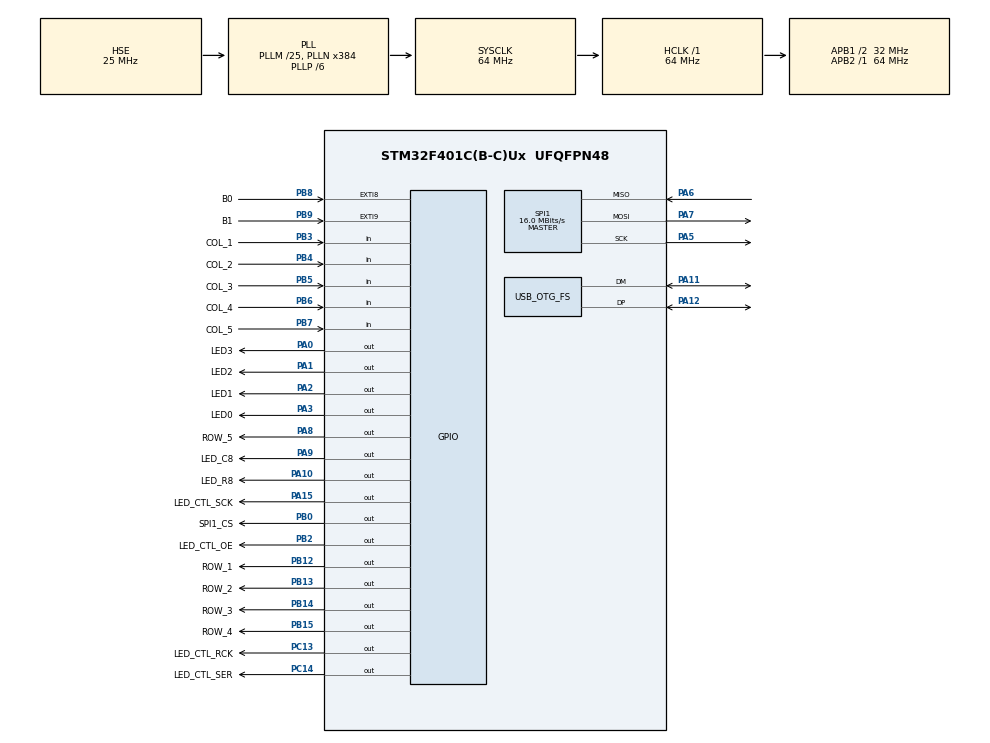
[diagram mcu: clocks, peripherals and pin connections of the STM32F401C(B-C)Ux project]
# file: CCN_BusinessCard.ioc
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Mcu.Family=STM32F4
Mcu.Name=STM32F401C(B-C)Ux
Mcu.Package=UFQFPN48
NVIC.OTG_FS_IRQn=true\:6\:0\:true\:false\:true\:false\:true\:true
NVIC.PriorityGroup=NVIC_PRIORITYGROUP_4
NVIC.TIM1_TRG_COM_TIM11_IRQn=true\:5\:0\:true\:false\:true\:false\:true\:true
NVIC.TimeBase=TIM1_TRG_COM_TIM11_IRQn
NVIC.TimeBaseIP=TIM11
PA0-WKUP.GPIO_Label=LED3
PA0-WKUP.GPIO_PuPd=GPIO_PULLUP
PA0-WKUP.PinState=GPIO_PIN_SET
PA0-WKUP.Signal=GPIO_Output
PA1.GPIO_Label=LED2
PA1.GPIO_PuPd=GPIO_PULLUP
PA1.PinState=GPIO_PIN_SET
PA1.Signal=GPIO_Output
PA10.GPIO_Label=LED_R8
PA10.GPIO_PuPd=GPIO_PULLDOWN
PA10.Signal=GPIO_Output
PA11.Mode=Device_Only
PA11.Signal=USB_OTG_FS_DM
PA12.Mode=Device_Only
PA12.Signal=USB_OTG_FS_DP
PA13.Mode=Serial_Wire
PA13.Signal=SYS_JTMS-SWDIO
PA14.Mode=Serial_Wire
PA14.Signal=SYS_JTCK-SWCLK
PA15.GPIO_Label=LED_CTL_SCK
PA15.Signal=GPIO_Output
PA2.GPIO_Label=LED1
PA2.GPIO_PuPd=GPIO_PULLUP
PA2.PinState=GPIO_PIN_SET
PA2.Signal=GPIO_Output
PA3.GPIO_Label=LED0
PA3.GPIO_PuPd=GPIO_PULLUP
PA3.PinState=GPIO_PIN_SET
PA3.Signal=GPIO_Output
PA5.Mode=Full_Duplex_Master
PA5.Signal=SPI1_SCK
PA6.Mode=Full_Duplex_Master
PA6.Signal=SPI1_MISO
PA7.Mode=Full_Duplex_Master
PA7.Signal=SPI1_MOSI
PA8.GPIO_Label=ROW_5
PA8.GPIO_PuPd=GPIO_PULLDOWN
PA8.Signal=GPIO_Output
PA9.GPIO_Label=LED_C8
PA9.GPIO_PuPd=GPIO_PULLDOWN
PA9.Signal=GPIO_Output
PB0.GPIO_Label=SPI1_CS
PB0.Signal=GPIO_Output
PB12.GPIO_Label=ROW_1
PB12.GPIO_PuPd=GPIO_PULLDOWN
PB12.Signal=GPIO_Output
PB13.GPIO_Label=ROW_2
PB13.GPIO_PuPd=GPIO_PULLDOWN
PB13.Signal=GPIO_Output
PB14.GPIO_Label=ROW_3
PB14.GPIO_PuPd=GPIO_PULLDOWN
PB14.Signal=GPIO_Output
PB15.GPIO_Label=ROW_4
PB15.GPIO_PuPd=GPIO_PULLDOWN
PB15.Signal=GPIO_Output
PB2.GPIO_Label=LED_CTL_OE
PB2.GPIO_PuPd=GPIO_PULLDOWN
PB2.Signal=GPIO_Output
PB3.GPIO_Label=COL_1
PB3.GPIO_PuPd=GPIO_PULLDOWN
PB3.Signal=GPIO_Input
PB4.GPIO_Label=COL_2
PB4.GPIO_PuPd=GPIO_PULLDOWN
PB4.Signal=GPIO_Input
PB5.GPIO_Label=COL_3
PB5.GPIO_PuPd=GPIO_PULLDOWN
PB5.Signal=GPIO_Input
PB6.GPIO_Label=COL_4
PB6.GPIO_PuPd=GPIO_PULLDOWN
PB6.Signal=GPIO_Input
PB7.GPIO_Label=COL_5
PB7.GPIO_PuPd=GPIO_PULLDOWN
PB7.Signal=GPIO_Input
PB8.GPIO_Label=B0
PB8.GPIO_PuPd=GPIO_PULLDOWN
PB8.Signal=GPXTI8
PB9.GPIO_Label=B1
PB9.GPIO_PuPd=GPIO_PULLDOWN
PB9.Signal=GPXTI9
PC13-ANTI_TAMP.GPIO_Label=LED_CTL_RCK
PC13-ANTI_TAMP.Signal=GPIO_Output
PC14-OSC32_IN.GPIO_Label=LED_CTL_SER
PC14-OSC32_IN.Signal=GPIO_Output
PH0\ -\ OSC_IN.Mode=HSE-External-Oscillator
PH0\ -\ OSC_IN.Signal=RCC_OSC_IN
PH1\ -\ OSC_OUT.Mode=HSE-External-Oscillator
PH1\ -\ OSC_OUT.Signal=RCC_OSC_OUT
ProjectManager.HeapSize=0x200
ProjectManager.StackSize=0x400
ProjectManager.TargetToolchain=STM32CubeIDE
RCC.48MHZClocksFreq_Value=48000000
RCC.AHBFreq_Value=64000000
RCC.APB1CLKDivider=RCC_HCLK_DIV2
RCC.APB1Freq_Value=32000000
RCC.APB1TimFreq_Value=64000000
RCC.APB2Freq_Value=64000000
RCC.APB2TimFreq_Value=64000000
RCC.CortexFreq_Value=64000000
RCC.HCLKFreq_Value=64000000
RCC.HSE_VALUE=25000000
RCC.HSI_VALUE=16000000
RCC.LSE_VALUE=32768
RCC.PLLM=25
RCC.PLLN=384
RCC.PLLP=RCC_PLLP_DIV6
RCC.PLLQ=8
RCC.SYSCLKFreq_VALUE=64000000
RCC.SYSCLKSource=RCC_SYSCLKSOURCE_PLLCLK
RCC.VCOOutputFreq_Value=384000000
SPI1.BaudRatePrescaler=SPI_BAUDRATEPRESCALER_4
SPI1.CalculateBaudRate=16.0 MBits/s
SPI1.Direction=SPI_DIRECTION_2LINES
SPI1.Mode=SPI_MODE_MASTER
SPI1.VirtualType=VM_MASTER
TIM10.Channel=TIM_CHANNEL_1
TIM10.Period=0xFFFF
TIM5.Period=0xFFFFFF
USB_DEVICE.CLASS_NAME_FS=MSC
USB_DEVICE.MSC_MEDIA_PACKET=8192
USB_DEVICE.USBD_MAX_STR_DESC_SIZ=512
USB_DEVICE.USBD_SELF_POWERED=0
USB_DEVICE.VirtualMode=Msc
USB_DEVICE.VirtualModeFS=Msc_FS
USB_OTG_FS.VirtualMode=Device_Only
VP_SYS_VS_tim11.Mode=TIM11
VP_TIM10_VS_ClockSourceINT.Mode=Enable_Timer
VP_TIM10_VS_OPM.Mode=OPM_bit
VP_TIM10_VS_no_output1.Mode=PWM Generation1 No Output
VP_TIM1_VS_ClockSourceINT.Mode=Internal
VP_TIM5_VS_ClockSourceINT.Mode=Internal
VP_USB_DEVICE_VS_USB_DEVICE_MSC_FS.Mode=MSC_FS
board=custom

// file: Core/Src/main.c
/* USER CODE BEGIN Header */
/**
 ******************************************************************************
 * @file           : main.c
 * @brief          : Main program body
 ******************************************************************************
 * @attention
 *
 * Copyright (c) 2023 STMicroelectronics.
 * All rights reserved.
 *
 * This software is licensed under terms that can be found in the LICENSE file
 * in the root directory of this software component.
 * If no LICENSE file comes with this software, it is provided AS-IS.
 *
 ******************************************************************************
 */
/* USER CODE END Header */
#include "main.h"
#include "usb_device.h"

/* USER CODE BEGIN Includes */
#include <stdint.h>
#include "led_matrix.h"
#include "w25qxx.h"
/* USER CODE END Includes */

SPI_HandleTypeDef hspi1;

TIM_HandleTypeDef htim1;
TIM_HandleTypeDef htim5;
TIM_HandleTypeDef htim10;

void SystemClock_Config(void);
static void MX_GPIO_Init(void);
static void MX_SPI1_Init(void);
static void MX_TIM1_Init(void);
static void MX_TIM5_Init(void);
static void MX_TIM10_Init(void);

/* USER CODE BEGIN 0 */

int _write(int file, char *ptr, int len)
{
  //    CDC_Transmit_FS((uint8_t *)ptr, len);
  return (len);
}

void display_demo()
{
  uint16_t row = 0, col = 0;

  row = 0xFFFF;
  col = 0x0001;
  for (int i = 0; i < 9; i++)
  {
    ledmatrix_input(row, col);
    col <<= 1;
    HAL_Delay(100);
  }
  row = 0x0001;
  col = 0xFFFF;
  for (int i = 0; i < 9; i++)
  {
    ledmatrix_input(row, col);
    row <<= 1;
    HAL_Delay(100);
  }
  ledmatrix_input(0, 0);
}

void display_demo2()
{
  ledmatrix_input((1 << 0), (1 << 0));
  HAL_Delay(10); //  LED_L1_1_1 : LED_MAT_0_0 //LED01
  ledmatrix_input((1 << 0), (1 << 1));
  HAL_Delay(10); //  LED_L1_1_2 : LED_MAT_0_1 //LED02
  ledmatrix_input((1 << 0), (1 << 2));
  HAL_Delay(10); //  LED_L1_1_3 : LED_MAT_0_2 //LED03
  ledmatrix_input((1 << 0), (1 << 3));
  HAL_Delay(10); //  LED_L1_1_4 : LED_MAT_0_3 //LED04
  ledmatrix_input((1 << 0), (1 << 4));
  HAL_Delay(10); //  LED_L1_1_5 : LED_MAT_0_4 //LED05
  ledmatrix_input((1 << 1), (1 << 0));
  HAL_Delay(10); //  LED_L1_2_1 : LED_MAT_1_0 //LED10
  ledmatrix_input((1 << 1), (1 << 1));
  HAL_Delay(10); //  LED_L1_2_2 : LED_MAT_1_1 //LED11
  ledmatrix_input((1 << 1), (1 << 2));
  HAL_Delay(10); //  LED_L1_2_3 : LED_MAT_1_2 //LED12
  ledmatrix_input((1 << 1), (1 << 3));
  HAL_Delay(10); //  LED_L1_2_4 : LED_MAT_1_3 //LED13
  ledmatrix_input((1 << 1), (1 << 4));
  HAL_Delay(10); //  LED_L1_2_5 : LED_MAT_1_4 //LED14
  ledmatrix_input((1 << 2), (1 << 0));
  HAL_Delay(10); //  LED_L1_3_1 : LED_MAT_2_0 //LED19
  ledmatrix_input((1 << 2), (1 << 1));
  HAL_Delay(10); //  LED_L1_3_2 : LED_MAT_2_1 //LED20
  ledmatrix_input((1 << 2), (1 << 2));
  HAL_Delay(10); //  LED_L1_3_3 : LED_MAT_2_2 //LED21
  ledmatrix_input((1 << 2), (1 << 3));
  HAL_Delay(10); //  LED_L1_3_4 : LED_MAT_2_3 //LED22
  ledmatrix_input((1 << 2), (1 << 4));
  HAL_Delay(10); //  LED_L1_3_5 : LED_MAT_2_4 //LED23
  ledmatrix_input((1 << 3), (1 << 0));
  HAL_Delay(10); //  LED_L1_4_1 : LED_MAT_3_0 //LED28
  ledmatrix_input((1 << 3), (1 << 1));
  HAL_Delay(10); //  LED_L1_4_2 : LED_MAT_3_1 //LED29
  ledmatrix_input((1 << 3), (1 << 2));
  HAL_Delay(10); //  LED_L1_4_3 : LED_MAT_3_2 //LED30
  ledmatrix_input((1 << 3), (1 << 3));
  HAL_Delay(10); //  LED_L1_4_4 : LED_MAT_3_3 //LED31
  ledmatrix_input((1 << 3), (1 << 4));
  HAL_Delay(10); //  LED_L1_4_5 : LED_MAT_3_4 //LED32
  ledmatrix_input((1 << 4), (1 << 0));
  HAL_Delay(10); //  LED_L1_5_1 : LED_MAT_4_0 //LED37
  ledmatrix_input((1 << 4), (1 << 1));
  HAL_Delay(10); //  LED_L1_5_2 : LED_MAT_4_1 //LED38
  ledmatrix_input((1 << 4), (1 << 2));
  HAL_Delay(10); //  LED_L1_5_3 : LED_MAT_4_2 //LED39
  ledmatrix_input((1 << 4), (1 << 3));
  HAL_Delay(10); //  LED_L1_5_4 : LED_MAT_4_3 //LED40
  ledmatrix_input((1 << 4), (1 << 4));
  HAL_Delay(10); //  LED_L1_5_5 : LED_MAT_4_4 //LED41
  ledmatrix_input((1 << 0), (1 << 5));
  HAL_Delay(10); //  LED_L2_1_1 : LED_MAT_0_5 //LED06
  ledmatrix_input((1 << 0), (1 << 6));
  HAL_Delay(10); //  LED_L2_1_2 : LED_MAT_0_6 //LED07
  ledmatrix_input((1 << 0), (1 << 7));
  HAL_Delay(10); //  LED_L2_1_3 : LED_MAT_0_7 //LED08
  ledmatrix_input((1 << 0), (1 << 8));
  HAL_Delay(10); //  LED_L2_1_4 : LED_MAT_0_8 //LED09
  ledmatrix_input((1 << 1), (1 << 5));
  HAL_Delay(10); //  LED_L2_2_1 : LED_MAT_1_5 //LED15
  ledmatrix_input((1 << 1), (1 << 6));
  HAL_Delay(10); //  LED_L2_2_2 : LED_MAT_1_6 //LED16
  ledmatrix_input((1 << 1), (1 << 7));
  HAL_Delay(10); //  LED_L2_2_3 : LED_MAT_1_7 //LED17
  ledmatrix_input((1 << 1), (1 << 8));
  HAL_Delay(10); //  LED_L2_2_4 : LED_MAT_1_8 //LED18
  ledmatrix_input((1 << 2), (1 << 5));
  HAL_Delay(10); //  LED_L2_3_1 : LED_MAT_2_5 //LED24
  ledmatrix_input((1 << 2), (1 << 6));
  HAL_Delay(10); //  LED_L2_3_2 : LED_MAT_2_6 //LED25
  ledmatrix_input((1 << 2), (1 << 7));
  HAL_Delay(10); //  LED_L2_3_3 : LED_MAT_2_7 //LED26
  ledmatrix_input((1 << 2), (1 << 8));
  HAL_Delay(10); //  LED_L2_3_4 : LED_MAT_2_8 //LED27
  ledmatrix_input((1 << 3), (1 << 5));
  HAL_Delay(10); //  LED_L2_4_1 : LED_MAT_3_5 //LED33
  ledmatrix_input((1 << 3), (1 << 6));
  HAL_Delay(10); //  LED_L2_4_2 : LED_MAT_3_6 //LED34
  ledmatrix_input((1 << 3), (1 << 7));
  HAL_Delay(10); //  LED_L2_4_3 : LED_MAT_3_7 //LED35
  ledmatrix_input((1 << 3), (1 << 8));
  HAL_Delay(10); //  LED_L2_4_4 : LED_MAT_3_8 //LED36
  ledmatrix_input((1 << 5), (1 << 0));
  HAL_Delay(10); //  LED_L3_1_1 : LED_MAT_5_0 // LED46
  ledmatrix_input((1 << 5), (1 << 1));
  HAL_Delay(10); //  LED_L3_1_2 : LED_MAT_5_1 // LED47
  ledmatrix_input((1 << 5), (1 << 2));
  HAL_Delay(10); //  LED_L3_1_3 : LED_MAT_5_2 // LED48
  ledmatrix_input((1 << 6), (1 << 0));
  HAL_Delay(10); //  LED_L3_2_1 : LED_MAT_6_0 // LED55
  ledmatrix_input((1 << 6), (1 << 1));
  HAL_Delay(10); //  LED_L3_2_2 : LED_MAT_6_1 // LED56
  ledmatrix_input((1 << 6), (1 << 2));
  HAL_Delay(10); //  LED_L3_2_3 : LED_MAT_6_2 // LED57
  ledmatrix_input((1 << 7), (1 << 0));
  HAL_Delay(10); //  LED_L3_3_1 : LED_MAT_7_0 // LED64
  ledmatrix_input((1 << 7), (1 << 1));
  HAL_Delay(10); //  LED_L3_3_2 : LED_MAT_7_1 // LED65
  ledmatrix_input((1 << 7), (1 << 2));
  HAL_Delay(10); //  LED_L3_3_3 : LED_MAT_7_2 // LED66
  ledmatrix_input((1 << 5), (1 << 3));
  HAL_Delay(10); //  LED_L4_1_1 : LED_MAT_5_3 // LED49
  ledmatrix_input((1 << 5), (1 << 4));
  HAL_Delay(10); //  LED_L4_1_2 : LED_MAT_5_4 // LED50
  ledmatrix_input((1 << 6), (1 << 3));
  HAL_Delay(10); //  LED_L4_2_1 : LED_MAT_6_3 // LED58
  ledmatrix_input((1 << 6), (1 << 4));
  HAL_Delay(10); //  LED_L4_2_2 : LED_MAT_6_4 // LED59
  ledmatrix_input((1 << 4), (1 << 5));
  HAL_Delay(10); //  LED_L5_01 : LED_MAT_4_5 // LED42
  ledmatrix_input((1 << 4), (1 << 6));
  HAL_Delay(10); //  LED_L5_02 : LED_MAT_4_6 // LED43
  ledmatrix_input((1 << 4), (1 << 7));
  HAL_Delay(10); //  LED_L5_03 : LED_MAT_4_7 // LED44
  ledmatrix_input((1 << 4), (1 << 8));
  HAL_Delay(10); //  LED_L5_04 : LED_MAT_4_8 // LED45
  ledmatrix_input((1 << 5), (1 << 5));
  HAL_Delay(10); //  LED_L5_05 : LED_MAT_5_5 // LED51
  ledmatrix_input((1 << 5), (1 << 6));
  HAL_Delay(10); //  LED_L5_06 : LED_MAT_5_6 // LED52
  ledmatrix_input((1 << 5), (1 << 7));
  HAL_Delay(10); //  LED_L5_07 : LED_MAT_5_7 // LED53
  ledmatrix_input((1 << 5), (1 << 8));
  HAL_Delay(10); //  LED_L5_08 : LED_MAT_5_8 // LED54
  ledmatrix_input((1 << 6), (1 << 5));
  HAL_Delay(10); //  LED_L5_09 : LED_MAT_6_5 // LED60
  ledmatrix_input((1 << 6), (1 << 6));
  HAL_Delay(10); //  LED_L5_10 : LED_MAT_6_6 // LED61
  ledmatrix_input((1 << 6), (1 << 7));
  HAL_Delay(10); //  LED_L5_11 : LED_MAT_6_7 // LED62
  ledmatrix_input((1 << 6), (1 << 8));
  HAL_Delay(10); //  LED_L5_12 : LED_MAT_6_8 // LED63
  ledmatrix_input((1 << 7), (1 << 5));
  HAL_Delay(10); //  LED_L5_13 : LED_MAT_7_5 // LED69
  ledmatrix_input((1 << 7), (1 << 6));
  HAL_Delay(10); //  LED_L5_14 : LED_MAT_7_6 // LED70
  ledmatrix_input((1 << 7), (1 << 7));
  HAL_Delay(10); //  LED_L5_15 : LED_MAT_7_7 // LED71
  ledmatrix_input((1 << 7), (1 << 8));
  HAL_Delay(10); //  LED_L5_16 : LED_MAT_7_8 // LED72
  ledmatrix_input((1 << 8), (1 << 8));
  HAL_Delay(10); //  LED_L6_0 : LED_MAT_8_8 // LED81
  ledmatrix_input((1 << 8), (1 << 7));
  HAL_Delay(10); //  LED_L6_1 : LED_MAT_8_7 // LED80
  ledmatrix_input((1 << 8), (1 << 6));
  HAL_Delay(10); //  LED_L6_2 : LED_MAT_8_6 // LED79
  ledmatrix_input((1 << 8), (1 << 5));
  HAL_Delay(10); //  LED_L6_3 : LED_MAT_8_5 // LED78
  ledmatrix_input((1 << 8), (1 << 0));
  HAL_Delay(10); //  LED_L6_4 : LED_MAT_8_0 // LED73
  ledmatrix_input((1 << 8), (1 << 1));
  HAL_Delay(10); //  LED_L6_5 : LED_MAT_8_1 // LED74
  ledmatrix_input((1 << 8), (1 << 2));
  HAL_Delay(10); //  LED_L6_6 : LED_MAT_8_2 // LED75
  ledmatrix_input((1 << 8), (1 << 3));
  HAL_Delay(10); //  LED_L6_7 : LED_MAT_8_3 // LED76
  ledmatrix_input((1 << 8), (1 << 4));
  HAL_Delay(10); //  LED_L6_8 : LED_MAT_8_4 // LED77
  ledmatrix_input((1 << 7), (1 << 4));
  HAL_Delay(10); //  LED_L6_9 : LED_MAT_7_4 // LED68
  ledmatrix_input((1 << 7), (1 << 3));
  HAL_Delay(10); //  LED_L6_X : LED_MAT_7_3 // LED67
  ledmatrix_input(0, 0);
  HAL_Delay(10); //  LED_L6_X : LED_MAT_7_3 // LED67
}

#include "model/model.h"
#include "util/led_control.h"
#include "util/buttons.h"
#include "util/sleep.h"
#include "fun/startup_anim.h"
#include "fun/gol.h"

uint8_t filter_idx = 0;

void run_model_with_pwm()
{
  // enable interrupt pwm during model calculations

  run_model_and_set_led_brightness(filter_idx);

  // disable interrupt pwm again
}

void reset_input_state()
{
  filter_idx = 0;
  clear_led_brightness();
  set_led_brightness(1, 1, MAX_PWM_LEVEL);
  set_led_brightness(1, 2, MAX_PWM_LEVEL);
  set_led_brightness(2, 2, MAX_PWM_LEVEL);
  set_led_brightness(3, 1, MAX_PWM_LEVEL);
  set_led_brightness(3, 2, MAX_PWM_LEVEL);
  set_led_brightness(3, 3, MAX_PWM_LEVEL);

  set_filter_leds(filter_idx);
  update_pwm_pattern();

  run_model_with_pwm();
  update_pwm_pattern();
}

void sleep_and_reset()
{
  turn_off_leds();
  go_to_sleep();
  display_demo();
  display_demo2();
  reset_input_state();
}

// Ref: https://michaeltien8901.github.io/2020/05/30/Jump-to-Internal-Bootloader-STM32F4.html
void JumpToBootloader(void)
{
  void (*SysMemBootJump)(void);

  /**
   * Step: Set system memory address.
   *
   *       For STM32F429, system memory is on 0x1FFF 0000
   *       For other families, check AN2606 document table 110 with descriptions of memory addresses
   */
  volatile uint32_t addr = 0x1FFF0000;

  /**
   * Step: Disable RCC, set it to default (after reset) settings
   *       Internal clock, no PLL, etc.
   */
  HAL_RCC_DeInit();
  HAL_DeInit(); // add by ctien

  /**
   * Step: Disable systick timer and reset it to default values
   */
  SysTick->CTRL = 0;
  SysTick->LOAD = 0;
  SysTick->VAL = 0;

  /**
   * Step: Disable all interrupts
   */
  //  __disable_irq(); // changed by ctien

  /**
   * Step: Remap system memory to address 0x0000 0000 in address space
   *       For each family registers may be different.
   *       Check reference manual for each family.
   *
   *       For STM32F4xx, MEMRMP register in SYSCFG is used (bits[1:0])
   *       For STM32F0xx, CFGR1 register in SYSCFG is used (bits[1:0])
   *       For others, check family reference manual
   */
  // Remap by hand... {
#if defined(STM32F4)
  SYSCFG->MEMRMP = 0x01;
#endif
#if defined(STM32F0)
  SYSCFG->CFGR1 = 0x01;
#endif
  //} ...or if you use HAL drivers
  //__HAL_SYSCFG_REMAPMEMORY_SYSTEMFLASH();    //Call HAL macro to do this for you

  /**
   * Step: Set jump memory location for system memory
   *       Use address with 4 bytes offset which specifies jump location where program starts
   */
  SysMemBootJump = (void (*)(void))(*((uint32_t *)(addr + 4)));

  /**
   * Step: Set main stack pointer.
   *       This step must be done last otherwise local variables in this function
   *       don't have proper value since stack pointer is located on different position
   *
   *       Set direct address location which specifies stack pointer in SRAM location
   */
  __set_MSP(*(uint32_t *)addr);

  /**
   * Step: Actually call our function to jump to set location
   *       This will start system memory execution
   */
  SysMemBootJump();

  /**
   * Step: Connect USB<->UART converter to dedicated USART pins and test
   *       and test with bootloader works with STM32 STM32 Cube Programmer
   */
}

void handle_buttons()
{
  int8_t pressed = read_buttons();
  if (pressed == -1)
  {
    return;
  }
  else if (pressed == FILTER_BUTTON)
  {
    if (check_glider())
    {
      run_gol();
    }
    else
    {
      filter_idx = (filter_idx + 1) % N_FILTERS;
    }
    run_model_with_pwm();
    set_filter_leds(filter_idx);
    update_pwm_pattern();
  }
  else if (pressed == PWR_BUTTON)
  {
    // If Long Press, jump to internal bootloader.(for update)
    uint32_t start_tick = HAL_GetTick();
    while (!!HAL_GPIO_ReadPin(B1_GPIO_Port, B1_Pin))
    {
      if (HAL_GetTick() > (start_tick + 5000))
      {
        JumpToBootloader();
      }
    }

    sleep_and_reset();
  }
  else
  {
    uint8_t row = pressed / 5;
    uint8_t col = pressed % 5;

    set_led_brightness(row, col,
                       get_led_on(row, col) ? 0 : MAX_PWM_LEVEL);

    run_model_with_pwm();
    update_pwm_pattern();
  }
}

void main_loop()
{

  while (1)
  {
    run_pwm_cycle();
    handle_buttons();
    if(check_rtc_elapsed())
    {
      sleep_and_reset();
    }
  }
}

void main_loop_state_machine()
{
  extern void run_pwm_cycle_state_machine();
  run_pwm_cycle_state_machine();
  if(check_rtc_elapsed())
  {
    sleep_and_reset();
  }
}
void main_entry()
{

  turn_off_leds();

  /* shift register output enable */

  init_pwm_data();

  display_demo();
  display_demo2();
  reset_input_state();

  //    main_loop();
  HAL_TIM_Base_Start_IT(&htim5);
  while (1)
    ;
}

void HAL_GPIO_EXTI_Callback(uint16_t GPIO_Pin)
{
	turn_off_leds();
}
/* USER CODE END 0 */

int main(void)
{

  /* MCU Configuration--------------------------------------------------------*/

  /* Reset of all peripherals, Initializes the Flash interface and the Systick. */
  HAL_Init();

  /* Configure the system clock */
  SystemClock_Config();

  /* Initialize all configured peripherals */
  MX_GPIO_Init();
  MX_SPI1_Init();
  MX_TIM1_Init();
  MX_TIM5_Init();
  MX_TIM10_Init();
  MX_USB_DEVICE_Init();
  /* USER CODE BEGIN 2 */

  ledmatrix_turnoff();

  ledmatrix_turnon();
  HAL_Delay(1000);

  main_entry();

  /* USER CODE END 2 */

  /* Infinite loop */
  while (1)
  {

  }
}

void SystemClock_Config(void)
{
  RCC_OscInitTypeDef RCC_OscInitStruct = {0};
  RCC_ClkInitTypeDef RCC_ClkInitStruct = {0};

  /** Configure the main internal regulator output voltage
  */
  __HAL_RCC_PWR_CLK_ENABLE();
  __HAL_PWR_VOLTAGESCALING_CONFIG(PWR_REGULATOR_VOLTAGE_SCALE2);

  /** Initializes the RCC Oscillators according to the specified parameters
  * in the RCC_OscInitTypeDef structure.
  */
  RCC_OscInitStruct.OscillatorType = RCC_OSCILLATORTYPE_HSE;
  RCC_OscInitStruct.HSEState = RCC_HSE_ON;
  RCC_OscInitStruct.PLL.PLLState = RCC_PLL_ON;
  RCC_OscInitStruct.PLL.PLLSource = RCC_PLLSOURCE_HSE;
  RCC_OscInitStruct.PLL.PLLM = 25;
  RCC_OscInitStruct.PLL.PLLN = 384;
  RCC_OscInitStruct.PLL.PLLP = RCC_PLLP_DIV6;
  RCC_OscInitStruct.PLL.PLLQ = 8;
  if (HAL_RCC_OscConfig(&RCC_OscInitStruct) != HAL_OK)
  {
    Error_Handler();
  }

  /** Initializes the CPU, AHB and APB buses clocks
  */
  RCC_ClkInitStruct.ClockType = RCC_CLOCKTYPE_HCLK|RCC_CLOCKTYPE_SYSCLK
                              |RCC_CLOCKTYPE_PCLK1|RCC_CLOCKTYPE_PCLK2;
  RCC_ClkInitStruct.SYSCLKSource = RCC_SYSCLKSOURCE_PLLCLK;
  RCC_ClkInitStruct.AHBCLKDivider = RCC_SYSCLK_DIV1;
  RCC_ClkInitStruct.APB1CLKDivider = RCC_HCLK_DIV2;
  RCC_ClkInitStruct.APB2CLKDivider = RCC_HCLK_DIV1;

  if (HAL_RCC_ClockConfig(&RCC_ClkInitStruct, FLASH_LATENCY_2) != HAL_OK)
  {
    Error_Handler();
  }
}

static void MX_SPI1_Init(void)
{

  /* SPI1 parameter configuration*/
  hspi1.Instance = SPI1;
  hspi1.Init.Mode = SPI_MODE_MASTER;
  hspi1.Init.Direction = SPI_DIRECTION_2LINES;
  hspi1.Init.DataSize = SPI_DATASIZE_8BIT;
  hspi1.Init.CLKPolarity = SPI_POLARITY_LOW;
  hspi1.Init.CLKPhase = SPI_PHASE_1EDGE;
  hspi1.Init.NSS = SPI_NSS_SOFT;
  hspi1.Init.BaudRatePrescaler = SPI_BAUDRATEPRESCALER_4;
  hspi1.Init.FirstBit = SPI_FIRSTBIT_MSB;
  hspi1.Init.TIMode = SPI_TIMODE_DISABLE;
  hspi1.Init.CRCCalculation = SPI_CRCCALCULATION_DISABLE;
  hspi1.Init.CRCPolynomial = 10;
  if (HAL_SPI_Init(&hspi1) != HAL_OK)
  {
    Error_Handler();
  }

}

static void MX_TIM1_Init(void)
{

  TIM_ClockConfigTypeDef sClockSourceConfig = {0};
  TIM_MasterConfigTypeDef sMasterConfig = {0};

  htim1.Instance = TIM1;
  htim1.Init.Prescaler = 0;
  htim1.Init.CounterMode = TIM_COUNTERMODE_UP;
  htim1.Init.Period = 65535;
  htim1.Init.ClockDivision = TIM_CLOCKDIVISION_DIV1;
  htim1.Init.RepetitionCounter = 0;
  htim1.Init.AutoReloadPreload = TIM_AUTORELOAD_PRELOAD_DISABLE;
  if (HAL_TIM_Base_Init(&htim1) != HAL_OK)
  {
    Error_Handler();
  }
  sClockSourceConfig.ClockSource = TIM_CLOCKSOURCE_INTERNAL;
  if (HAL_TIM_ConfigClockSource(&htim1, &sClockSourceConfig) != HAL_OK)
  {
    Error_Handler();
  }
  sMasterConfig.MasterOutputTrigger = TIM_TRGO_RESET;
  sMasterConfig.MasterSlaveMode = TIM_MASTERSLAVEMODE_DISABLE;
  if (HAL_TIMEx_MasterConfigSynchronization(&htim1, &sMasterConfig) != HAL_OK)
  {
    Error_Handler();
  }

}

static void MX_TIM5_Init(void)
{

  TIM_ClockConfigTypeDef sClockSourceConfig = {0};
  TIM_MasterConfigTypeDef sMasterConfig = {0};

  htim5.Instance = TIM5;
  htim5.Init.Prescaler = 64-1;
  htim5.Init.CounterMode = TIM_COUNTERMODE_UP;
  htim5.Init.Period = 40-1;
  htim5.Init.ClockDivision = TIM_CLOCKDIVISION_DIV1;
  htim5.Init.AutoReloadPreload = TIM_AUTORELOAD_PRELOAD_DISABLE;
  if (HAL_TIM_Base_Init(&htim5) != HAL_OK)
  {
    Error_Handler();
  }
  sClockSourceConfig.ClockSource = TIM_CLOCKSOURCE_INTERNAL;
  if (HAL_TIM_ConfigClockSource(&htim5, &sClockSourceConfig) != HAL_OK)
  {
    Error_Handler();
  }
  sMasterConfig.MasterOutputTrigger = TIM_TRGO_RESET;
  sMasterConfig.MasterSlaveMode = TIM_MASTERSLAVEMODE_DISABLE;
  if (HAL_TIMEx_MasterConfigSynchronization(&htim5, &sMasterConfig) != HAL_OK)
  {
    Error_Handler();
  }

}

static void MX_TIM10_Init(void)
{

  TIM_OC_InitTypeDef sConfigOC = {0};

  htim10.Instance = TIM10;
  htim10.Init.Prescaler = 64-1;
  htim10.Init.CounterMode = TIM_COUNTERMODE_UP;
  htim10.Init.Period = 3200;
  htim10.Init.ClockDivision = TIM_CLOCKDIVISION_DIV1;
  htim10.Init.AutoReloadPreload = TIM_AUTORELOAD_PRELOAD_DISABLE;
  if (HAL_TIM_Base_Init(&htim10) != HAL_OK)
  {
    Error_Handler();
  }
  if (HAL_TIM_PWM_Init(&htim10) != HAL_OK)
  {
    Error_Handler();
  }
  sConfigOC.OCMode = TIM_OCMODE_PWM1;
  sConfigOC.Pulse = 0;
  sConfigOC.OCPolarity = TIM_OCPOLARITY_HIGH;
  sConfigOC.OCFastMode = TIM_OCFAST_DISABLE;
  if (HAL_TIM_PWM_ConfigChannel(&htim10, &sConfigOC, TIM_CHANNEL_1) != HAL_OK)
  {
    Error_Handler();
  }

}

static void MX_GPIO_Init(void)
{
  GPIO_InitTypeDef GPIO_InitStruct = {0};

  /* GPIO Ports Clock Enable */
  __HAL_RCC_GPIOC_CLK_ENABLE();
  __HAL_RCC_GPIOH_CLK_ENABLE();
  __HAL_RCC_GPIOA_CLK_ENABLE();
  __HAL_RCC_GPIOB_CLK_ENABLE();

  /*Configure GPIO pin Output Level */
  HAL_GPIO_WritePin(GPIOC, LED_CTL_RCK_Pin|LED_CTL_SER_Pin, GPIO_PIN_RESET);

  /*Configure GPIO pin Output Level */
  HAL_GPIO_WritePin(GPIOA, LED3_Pin|LED2_Pin|LED1_Pin|LED0_Pin, GPIO_PIN_SET);

  /*Configure GPIO pin Output Level */
  HAL_GPIO_WritePin(GPIOB, SPI1_CS_Pin|LED_CTL_OE_Pin|ROW_1_Pin|ROW_2_Pin
                          |ROW_3_Pin|ROW_4_Pin, GPIO_PIN_RESET);

  /*Configure GPIO pin Output Level */
  HAL_GPIO_WritePin(GPIOA, ROW_5_Pin|LED_C8_Pin|LED_R8_Pin|LED_CTL_SCK_Pin, GPIO_PIN_RESET);

  /*Configure GPIO pins : LED_CTL_RCK_Pin LED_CTL_SER_Pin */
  GPIO_InitStruct.Pin = LED_CTL_RCK_Pin|LED_CTL_SER_Pin;
  GPIO_InitStruct.Mode = GPIO_MODE_OUTPUT_PP;
  GPIO_InitStruct.Pull = GPIO_NOPULL;
  GPIO_InitStruct.Speed = GPIO_SPEED_FREQ_LOW;
  HAL_GPIO_Init(GPIOC, &GPIO_InitStruct);

  /*Configure GPIO pins : LED3_Pin LED2_Pin LED1_Pin LED0_Pin */
  GPIO_InitStruct.Pin = LED3_Pin|LED2_Pin|LED1_Pin|LED0_Pin;
  GPIO_InitStruct.Mode = GPIO_MODE_OUTPUT_PP;
  GPIO_InitStruct.Pull = GPIO_PULLUP;
  GPIO_InitStruct.Speed = GPIO_SPEED_FREQ_LOW;
  HAL_GPIO_Init(GPIOA, &GPIO_InitStruct);

  /*Configure GPIO pin : SPI1_CS_Pin */
  GPIO_InitStruct.Pin = SPI1_CS_Pin;
  GPIO_InitStruct.Mode = GPIO_MODE_OUTPUT_PP;
  GPIO_InitStruct.Pull = GPIO_NOPULL;
  GPIO_InitStruct.Speed = GPIO_SPEED_FREQ_LOW;
  HAL_GPIO_Init(SPI1_CS_GPIO_Port, &GPIO_InitStruct);

  /*Configure GPIO pins : LED_CTL_OE_Pin ROW_1_Pin ROW_2_Pin ROW_3_Pin
                           ROW_4_Pin */
  GPIO_InitStruct.Pin = LED_CTL_OE_Pin|ROW_1_Pin|ROW_2_Pin|ROW_3_Pin
                          |ROW_4_Pin;
  GPIO_InitStruct.Mode = GPIO_MODE_OUTPUT_PP;
  GPIO_InitStruct.Pull = GPIO_PULLDOWN;
  GPIO_InitStruct.Speed = GPIO_SPEED_FREQ_LOW;
  HAL_GPIO_Init(GPIOB, &GPIO_InitStruct);

  /*Configure GPIO pins : ROW_5_Pin LED_C8_Pin LED_R8_Pin */
  GPIO_InitStruct.Pin = ROW_5_Pin|LED_C8_Pin|LED_R8_Pin;
  GPIO_InitStruct.Mode = GPIO_MODE_OUTPUT_PP;
  GPIO_InitStruct.Pull = GPIO_PULLDOWN;
  GPIO_InitStruct.Speed = GPIO_SPEED_FREQ_LOW;
  HAL_GPIO_Init(GPIOA, &GPIO_InitStruct);

  /*Configure GPIO pin : LED_CTL_SCK_Pin */
  GPIO_InitStruct.Pin = LED_CTL_SCK_Pin;
  GPIO_InitStruct.Mode = GPIO_MODE_OUTPUT_PP;
  GPIO_InitStruct.Pull = GPIO_NOPULL;
  GPIO_InitStruct.Speed = GPIO_SPEED_FREQ_LOW;
  HAL_GPIO_Init(LED_CTL_SCK_GPIO_Port, &GPIO_InitStruct);

  /*Configure GPIO pins : COL_1_Pin COL_2_Pin COL_3_Pin COL_4_Pin
                           COL_5_Pin */
  GPIO_InitStruct.Pin = COL_1_Pin|COL_2_Pin|COL_3_Pin|COL_4_Pin
                          |COL_5_Pin;
  GPIO_InitStruct.Mode = GPIO_MODE_INPUT;
  GPIO_InitStruct.Pull = GPIO_PULLDOWN;
  HAL_GPIO_Init(GPIOB, &GPIO_InitStruct);

  /*Configure GPIO pins : B0_Pin B1_Pin */
  GPIO_InitStruct.Pin = B0_Pin|B1_Pin;
  GPIO_InitStruct.Mode = GPIO_MODE_IT_RISING;
  GPIO_InitStruct.Pull = GPIO_PULLDOWN;
  HAL_GPIO_Init(GPIOB, &GPIO_InitStruct);

  /* EXTI interrupt init*/
  HAL_NVIC_SetPriority(EXTI9_5_IRQn, 0, 0);
  HAL_NVIC_EnableIRQ(EXTI9_5_IRQn);

}

void HAL_TIM_PeriodElapsedCallback(TIM_HandleTypeDef *htim)
{
  if (htim->Instance == TIM11) {
    HAL_IncTick();
  }
  /* USER CODE BEGIN Callback 1 */
  if (htim->Instance == TIM5)
  {
    main_loop_state_machine();
  }
  /* USER CODE END Callback 1 */
}

void Error_Handler(void)
{
  __disable_irq();
  while (1)
  {
  }
}
